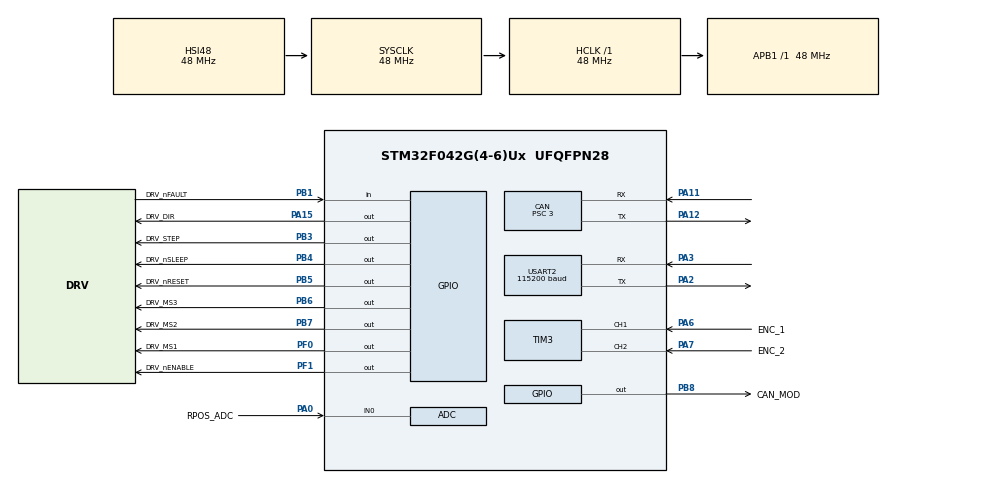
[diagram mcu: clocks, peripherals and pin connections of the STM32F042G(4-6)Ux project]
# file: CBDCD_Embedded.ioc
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ADC.ClockPrescaler=ADC_CLOCK_ASYNC_DIV1
ADC.ContinuousConvMode=ENABLE
ADC.DMAContinuousRequests=ENABLE
ADC.DataAlign=ADC_DATAALIGN_RIGHT
ADC.DiscontinuousConvMode=DISABLE
ADC.EOCSelection=ADC_EOC_SINGLE_CONV
ADC.EnableAnalogWatchDog=false
ADC.ExternalTrigConv=ADC_SOFTWARE_START
ADC.ExternalTrigConvEdge=ADC_EXTERNALTRIGCONVEDGE_NONE
ADC.LowPowerAutoPowerOff=DISABLE
ADC.LowPowerAutoWait=DISABLE
ADC.Overrun=ADC_OVR_DATA_PRESERVED
ADC.Resolution=ADC_RESOLUTION_12B
ADC.SamplingTime=ADC_SAMPLETIME_239CYCLES_5
ADC.ScanConvMode=ADC_SCAN_DIRECTION_FORWARD
CAN.BS1=CAN_BS1_11TQ
CAN.BS2=CAN_BS2_4TQ
CAN.CalculateTimeBit=1000
CAN.CalculateTimeQuantum=62.5
CAN.Mode=CAN_MODE_NORMAL
CAN.Prescaler=3
CAN.SJW=CAN_SJW_2TQ
Dma.ADC.0.Direction=DMA_PERIPH_TO_MEMORY
Dma.ADC.0.Instance=DMA1_Channel1
Dma.ADC.0.MemDataAlignment=DMA_MDATAALIGN_HALFWORD
Dma.ADC.0.MemInc=DMA_MINC_ENABLE
Dma.ADC.0.Mode=DMA_CIRCULAR
Dma.ADC.0.PeriphDataAlignment=DMA_PDATAALIGN_HALFWORD
Dma.ADC.0.PeriphInc=DMA_PINC_DISABLE
Dma.ADC.0.Priority=DMA_PRIORITY_LOW
Dma.Request0=ADC
Mcu.Family=STM32F0
Mcu.Name=STM32F042G(4-6)Ux
Mcu.Package=UFQFPN28
NVIC.CEC_CAN_IRQn=true\:0\:0\:false\:false\:true
NVIC.DMA1_Channel1_IRQn=true\:0\:0\:false\:false\:true
PA0.GPIO_Label=RPOS_ADC
PA0.Mode=IN0
PA0.Signal=ADC_IN0
PA11.Mode=Master
PA11.Signal=CAN_RX
PA12.Mode=Master
PA12.Signal=CAN_TX
PA13.Mode=Serial_Wire
PA13.Signal=SYS_SWDIO
PA14.Mode=Serial_Wire
PA14.Signal=SYS_SWCLK
PA15.GPIO_Label=DRV_DIR
PA15.Signal=GPIO_Output
PA2.Mode=Asynchronous
PA2.Signal=USART2_TX
PA3.Mode=Asynchronous
PA3.Signal=USART2_RX
PA6.GPIO_Label=ENC_1
PA6.Signal=S_TIM3_CH1
PA7.GPIO_Label=ENC_2
PA7.Signal=S_TIM3_CH2
PB1.GPIO_Label=DRV_nFAULT
PB1.Signal=GPIO_Input
PB3.GPIO_Label=DRV_STEP
PB3.Signal=GPIO_Output
PB4.GPIO_Label=DRV_nSLEEP
PB4.PinState=GPIO_PIN_SET
PB4.Signal=GPIO_Output
PB5.GPIO_Label=DRV_nRESET
PB5.PinState=GPIO_PIN_SET
PB5.Signal=GPIO_Output
PB6.GPIO_Label=DRV_MS3
PB6.Signal=GPIO_Output
PB7.GPIO_Label=DRV_MS2
PB7.Signal=GPIO_Output
PB8.GPIO_Label=CAN_MOD
PB8.Signal=GPIO_Output
PF0-OSC_IN.GPIO_Label=DRV_MS1
PF0-OSC_IN.Signal=GPIO_Output
PF1-OSC_OUT.GPIO_Label=DRV_nENABLE
PF1-OSC_OUT.Signal=GPIO_Output
ProjectManager.HeapSize=0x200
ProjectManager.StackSize=0x400
ProjectManager.TargetToolchain=TrueSTUDIO
RCC.AHBFreq_Value=48000000
RCC.APB1Freq_Value=48000000
RCC.APB1TimFreq_Value=48000000
RCC.HCLKFreq_Value=48000000
RCC.SYSCLKFreq_VALUE=48000000
RCC.SYSCLKSource=RCC_SYSCLKSOURCE_HSI48
SH.S_TIM3_CH1.0=TIM3_CH1,Encoder_Interface
SH.S_TIM3_CH2.0=TIM3_CH2,Encoder_Interface
TIM17.AutoReloadPreload=TIM_AUTORELOAD_PRELOAD_ENABLE
TIM17.Period=1000
TIM17.Prescaler=2
TIM2.AutoReloadPreload=TIM_AUTORELOAD_PRELOAD_DISABLE
TIM2.Period=450000
TIM2.Prescaler=10
TIM2.TIM_MasterOutputTrigger=TIM_TRGO_UPDATE
USART2.BaudRate=115200
USART2.VirtualMode-Asynchronous=VM_ASYNC
USART2.WordLength=WORDLENGTH_8B
VP_SYS_VS_PINREMAP.Mode=PINREMAP
VP_TIM17_VS_ClockSourceINT.Mode=Enable_Timer
VP_TIM2_VS_ClockSourceINT.Mode=Internal
board=CBDCD_Embedded

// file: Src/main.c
/**
  ******************************************************************************
  * File Name          : main.c
  * Description        : Main program body
  ******************************************************************************
  ** This notice applies to any and all portions of this file
  * that are not between comment pairs USER CODE BEGIN and
  * USER CODE END. Other portions of this file, whether
  * inserted by the user or by software development tools
  * are owned by their respective copyright owners.
  *
  * COPYRIGHT(c) 2017 STMicroelectronics
  *
  * Redistribution and use in source and binary forms, with or without modification,
  * are permitted provided that the following conditions are met:
  *   1. Redistributions of source code must retain the above copyright notice,
  *      this list of conditions and the following disclaimer.
  *   2. Redistributions in binary form must reproduce the above copyright notice,
  *      this list of conditions and the following disclaimer in the documentation
  *      and/or other materials provided with the distribution.
  *   3. Neither the name of STMicroelectronics nor the names of its contributors
  *      may be used to endorse or promote products derived from this software
  *      without specific prior written permission.
  *
  * THIS SOFTWARE IS PROVIDED BY THE COPYRIGHT HOLDERS AND CONTRIBUTORS "AS IS"
  * AND ANY EXPRESS OR IMPLIED WARRANTIES, INCLUDING, BUT NOT LIMITED TO, THE
  * IMPLIED WARRANTIES OF MERCHANTABILITY AND FITNESS FOR A PARTICULAR PURPOSE ARE
  * DISCLAIMED. IN NO EVENT SHALL THE COPYRIGHT HOLDER OR CONTRIBUTORS BE LIABLE
  * FOR ANY DIRECT, INDIRECT, INCIDENTAL, SPECIAL, EXEMPLARY, OR CONSEQUENTIAL
  * DAMAGES (INCLUDING, BUT NOT LIMITED TO, PROCUREMENT OF SUBSTITUTE GOODS OR
  * SERVICES; LOSS OF USE, DATA, OR PROFITS; OR BUSINESS INTERRUPTION) HOWEVER
  * CAUSED AND ON ANY THEORY OF LIABILITY, WHETHER IN CONTRACT, STRICT LIABILITY,
  * OR TORT (INCLUDING NEGLIGENCE OR OTHERWISE) ARISING IN ANY WAY OUT OF THE USE
  * OF THIS SOFTWARE, EVEN IF ADVISED OF THE POSSIBILITY OF SUCH DAMAGE.
  *
  ******************************************************************************
  */
#include "main.h"
#include "stm32f0xx_hal.h"

/* USER CODE BEGIN Includes */
#include "uCANnet/uCANnet.h"
#include "uCANnet/mcuCAN.h"
#include "motorController/motorController.h"
#include "MotorDefinitions.h"

#ifdef DRV8825
#include "drv8825/drv8825.h"
#endif

#ifdef DRV8801
#include "drv8801/drv8801.h"
#endif

/* USER CODE END Includes */

ADC_HandleTypeDef hadc;
DMA_HandleTypeDef hdma_adc;

CAN_HandleTypeDef hcan;

TIM_HandleTypeDef htim2;
TIM_HandleTypeDef htim3;
TIM_HandleTypeDef htim17;

UART_HandleTypeDef huart2;

/* USER CODE BEGIN PV */
/* Private variables ---------------------------------------------------------*/

/* USER CODE END PV */

void SystemClock_Config(void);
static void MX_GPIO_Init(void);
static void MX_DMA_Init(void);
static void MX_CAN_Init(void);
static void MX_TIM2_Init(void);
static void MX_TIM17_Init(void);
static void MX_ADC_Init(void);
static void MX_TIM3_Init(void);
static void MX_USART2_UART_Init(void);

/* USER CODE BEGIN PFP */
/* Private function prototypes -----------------------------------------------*/

/* USER CODE END PFP */

/* USER CODE BEGIN 0 */
extern volatile tcanRx canRxFlags;
extern uint32_t stepsCount;
/* USER CODE END 0 */

int main(void)
{

  /* USER CODE BEGIN 1 */
//  bootloaderSwitcher();
  /* USER CODE END 1 */

  /* MCU Configuration----------------------------------------------------------*/

  /* Reset of all peripherals, Initializes the Flash interface and the Systick. */
  HAL_Init();

  /* Configure the system clock */
  SystemClock_Config();

  /* Initialize all configured peripherals */
  MX_GPIO_Init();
  MX_DMA_Init();
  MX_CAN_Init();
  MX_TIM2_Init();
  MX_TIM17_Init();
  MX_ADC_Init();
  MX_TIM3_Init();
  MX_USART2_UART_Init();

  /* USER CODE BEGIN 2 */
  uCANnetCANInit();
  uCANnetSetFilters();
  motorController_Init();

  HAL_NVIC_SetPriority(CEC_CAN_IRQn, 1, 0);
  HAL_CAN_Receive_IT(&hcan, CAN_FIFO0);
#ifdef DRV8801
  HAL_TIMEx_PWMN_Start(&htim17,TIM_CHANNEL_1);
#endif

#ifdef DRV8825
  drv8825_Reset(1);
  drv8825_SetSleep(1);
  drv8825_EnableDevice(0);
  drv8825_SetMicrostepsCount(micro0);
#endif
  HAL_TIM_IC_Start_IT(&htim2,TIM_CHANNEL_1);
  /* USER CODE END 2 */

  /* Infinite loop */
  /* USER CODE BEGIN WHILE */
  HAL_ADC_Start_DMA(&hadc, &motorController.currentPosition, 1);

  HAL_TIM_Encoder_Start(&htim3, TIM_CHANNEL_ALL);

//  motorController.flags.PositionControler = 1;
//  motorController.setPosition = 1096;

  HAL_Delay(200);

  while (1)
  {

	  HAL_CAN_StateTypeDef  state = HAL_CAN_GetState(&hcan);
	  if ((state == HAL_CAN_STATE_TIMEOUT) || (state == HAL_CAN_STATE_ERROR))
	  {
		  HAL_CAN_DeInit(&hcan);
		  MX_CAN_Init();
		  canRxFlags.flags.fifo1 = 0;
		  HAL_CAN_Receive_IT(&hcan, CAN_FIFO0);
	  }

	  motorController.currentSpeed = TIM3->CNT;
	  motorController_Handle();
#ifdef DRV8825
//	 if (drv8825_PerformStep())
//		 HAL_Delay(2);
#endif

	if (__HAL_TIM_GET_FLAG(&htim2,TIM_IT_UPDATE) !=RESET)
	{
		uCANnetStatusFrameTx();
		__HAL_TIM_CLEAR_FLAG(&htim2,TIM_IT_UPDATE);
	}

	if (canRxFlags.flags.byte != 0) {
		canRxFlags.flags.fifo1 = 0;
		uCANnetFrameRx(hcan.pRxMsg);
		HAL_CAN_Receive_IT(&hcan, CAN_FIFO0);
	}
  /* USER CODE END WHILE */

  }

}

/** System Clock Configuration
*/
void SystemClock_Config(void)
{

  RCC_OscInitTypeDef RCC_OscInitStruct;
  RCC_ClkInitTypeDef RCC_ClkInitStruct;

    /**Initializes the CPU, AHB and APB busses clocks
    */
  RCC_OscInitStruct.OscillatorType = RCC_OSCILLATORTYPE_HSI14|RCC_OSCILLATORTYPE_HSI48;
  RCC_OscInitStruct.HSI48State = RCC_HSI48_ON;
  RCC_OscInitStruct.HSI14State = RCC_HSI14_ON;
  RCC_OscInitStruct.HSI14CalibrationValue = 16;
  RCC_OscInitStruct.PLL.PLLState = RCC_PLL_NONE;
  if (HAL_RCC_OscConfig(&RCC_OscInitStruct) != HAL_OK)
  {
    _Error_Handler(__FILE__, __LINE__);
  }

    /**Initializes the CPU, AHB and APB busses clocks
    */
  RCC_ClkInitStruct.ClockType = RCC_CLOCKTYPE_HCLK|RCC_CLOCKTYPE_SYSCLK
                              |RCC_CLOCKTYPE_PCLK1;
  RCC_ClkInitStruct.SYSCLKSource = RCC_SYSCLKSOURCE_HSI48;
  RCC_ClkInitStruct.AHBCLKDivider = RCC_SYSCLK_DIV1;
  RCC_ClkInitStruct.APB1CLKDivider = RCC_HCLK_DIV1;

  if (HAL_RCC_ClockConfig(&RCC_ClkInitStruct, FLASH_LATENCY_1) != HAL_OK)
  {
    _Error_Handler(__FILE__, __LINE__);
  }

    /**Configure the Systick interrupt time
    */
  HAL_SYSTICK_Config(HAL_RCC_GetHCLKFreq()/1000);

    /**Configure the Systick
    */
  HAL_SYSTICK_CLKSourceConfig(SYSTICK_CLKSOURCE_HCLK);

  /* SysTick_IRQn interrupt configuration */
  HAL_NVIC_SetPriority(SysTick_IRQn, 0, 0);
}

/* ADC init function */
static void MX_ADC_Init(void)
{

  ADC_ChannelConfTypeDef sConfig;

    /**Configure the global features of the ADC (Clock, Resolution, Data Alignment and number of conversion)
    */
  hadc.Instance = ADC1;
  hadc.Init.ClockPrescaler = ADC_CLOCK_ASYNC_DIV1;
  hadc.Init.Resolution = ADC_RESOLUTION_12B;
  hadc.Init.DataAlign = ADC_DATAALIGN_RIGHT;
  hadc.Init.ScanConvMode = ADC_SCAN_DIRECTION_FORWARD;
  hadc.Init.EOCSelection = ADC_EOC_SINGLE_CONV;
  hadc.Init.LowPowerAutoWait = DISABLE;
  hadc.Init.LowPowerAutoPowerOff = DISABLE;
  hadc.Init.ContinuousConvMode = ENABLE;
  hadc.Init.DiscontinuousConvMode = DISABLE;
  hadc.Init.ExternalTrigConv = ADC_SOFTWARE_START;
  hadc.Init.ExternalTrigConvEdge = ADC_EXTERNALTRIGCONVEDGE_NONE;
  hadc.Init.DMAContinuousRequests = ENABLE;
  hadc.Init.Overrun = ADC_OVR_DATA_PRESERVED;
  if (HAL_ADC_Init(&hadc) != HAL_OK)
  {
    _Error_Handler(__FILE__, __LINE__);
  }

    /**Configure for the selected ADC regular channel to be converted.
    */
  sConfig.Channel = ADC_CHANNEL_0;
  sConfig.Rank = ADC_RANK_CHANNEL_NUMBER;
  sConfig.SamplingTime = ADC_SAMPLETIME_239CYCLES_5;
  if (HAL_ADC_ConfigChannel(&hadc, &sConfig) != HAL_OK)
  {
    _Error_Handler(__FILE__, __LINE__);
  }

}

/* CAN init function */
static void MX_CAN_Init(void)
{

  hcan.Instance = CAN;
  hcan.Init.Prescaler = 3;
  hcan.Init.Mode = CAN_MODE_NORMAL;
  hcan.Init.SJW = CAN_SJW_2TQ;
  hcan.Init.BS1 = CAN_BS1_11TQ;
  hcan.Init.BS2 = CAN_BS2_4TQ;
  hcan.Init.TTCM = DISABLE;
  hcan.Init.ABOM = DISABLE;
  hcan.Init.AWUM = DISABLE;
  hcan.Init.NART = DISABLE;
  hcan.Init.RFLM = DISABLE;
  hcan.Init.TXFP = DISABLE;
  while (HAL_CAN_Init(&hcan) != HAL_OK) {;}

}

/* TIM2 init function */
static void MX_TIM2_Init(void)
{

  TIM_ClockConfigTypeDef sClockSourceConfig;
  TIM_MasterConfigTypeDef sMasterConfig;

  htim2.Instance = TIM2;
  htim2.Init.Prescaler = 10;
  htim2.Init.CounterMode = TIM_COUNTERMODE_UP;
  htim2.Init.Period = 450000;
  htim2.Init.ClockDivision = TIM_CLOCKDIVISION_DIV1;
  htim2.Init.AutoReloadPreload = TIM_AUTORELOAD_PRELOAD_DISABLE;
  if (HAL_TIM_Base_Init(&htim2) != HAL_OK)
  {
    _Error_Handler(__FILE__, __LINE__);
  }

  sClockSourceConfig.ClockSource = TIM_CLOCKSOURCE_INTERNAL;
  if (HAL_TIM_ConfigClockSource(&htim2, &sClockSourceConfig) != HAL_OK)
  {
    _Error_Handler(__FILE__, __LINE__);
  }

  sMasterConfig.MasterOutputTrigger = TIM_TRGO_UPDATE;
  sMasterConfig.MasterSlaveMode = TIM_MASTERSLAVEMODE_DISABLE;
  if (HAL_TIMEx_MasterConfigSynchronization(&htim2, &sMasterConfig) != HAL_OK)
  {
    _Error_Handler(__FILE__, __LINE__);
  }

}

/* TIM3 init function */
static void MX_TIM3_Init(void)
{

  TIM_Encoder_InitTypeDef sConfig;
  TIM_MasterConfigTypeDef sMasterConfig;

  htim3.Instance = TIM3;
  htim3.Init.Prescaler = 0;
  htim3.Init.CounterMode = TIM_COUNTERMODE_UP;
  htim3.Init.Period = 0;
  htim3.Init.ClockDivision = TIM_CLOCKDIVISION_DIV1;
  htim3.Init.AutoReloadPreload = TIM_AUTORELOAD_PRELOAD_DISABLE;
  sConfig.EncoderMode = TIM_ENCODERMODE_TI1;
  sConfig.IC1Polarity = TIM_ICPOLARITY_RISING;
  sConfig.IC1Selection = TIM_ICSELECTION_DIRECTTI;
  sConfig.IC1Prescaler = TIM_ICPSC_DIV1;
  sConfig.IC1Filter = 0;
  sConfig.IC2Polarity = TIM_ICPOLARITY_RISING;
  sConfig.IC2Selection = TIM_ICSELECTION_DIRECTTI;
  sConfig.IC2Prescaler = TIM_ICPSC_DIV1;
  sConfig.IC2Filter = 0;
  if (HAL_TIM_Encoder_Init(&htim3, &sConfig) != HAL_OK)
  {
    _Error_Handler(__FILE__, __LINE__);
  }

  sMasterConfig.MasterOutputTrigger = TIM_TRGO_RESET;
  sMasterConfig.MasterSlaveMode = TIM_MASTERSLAVEMODE_DISABLE;
  if (HAL_TIMEx_MasterConfigSynchronization(&htim3, &sMasterConfig) != HAL_OK)
  {
    _Error_Handler(__FILE__, __LINE__);
  }

}

/* TIM17 init function */
static void MX_TIM17_Init(void)
{

  htim17.Instance = TIM17;
  htim17.Init.Prescaler = 2;
  htim17.Init.CounterMode = TIM_COUNTERMODE_UP;
  htim17.Init.Period = 1000;
  htim17.Init.ClockDivision = TIM_CLOCKDIVISION_DIV1;
  htim17.Init.RepetitionCounter = 0;
  htim17.Init.AutoReloadPreload = TIM_AUTORELOAD_PRELOAD_ENABLE;
  if (HAL_TIM_Base_Init(&htim17) != HAL_OK)
  {
    _Error_Handler(__FILE__, __LINE__);
  }

}

/* USART2 init function */
static void MX_USART2_UART_Init(void)
{

  huart2.Instance = USART2;
  huart2.Init.BaudRate = 115200;
  huart2.Init.WordLength = UART_WORDLENGTH_8B;
  huart2.Init.StopBits = UART_STOPBITS_1;
  huart2.Init.Parity = UART_PARITY_NONE;
  huart2.Init.Mode = UART_MODE_TX_RX;
  huart2.Init.HwFlowCtl = UART_HWCONTROL_NONE;
  huart2.Init.OverSampling = UART_OVERSAMPLING_16;
  huart2.Init.OneBitSampling = UART_ONE_BIT_SAMPLE_DISABLE;
  huart2.AdvancedInit.AdvFeatureInit = UART_ADVFEATURE_NO_INIT;
  if (HAL_UART_Init(&huart2) != HAL_OK)
  {
    _Error_Handler(__FILE__, __LINE__);
  }

}

static void MX_DMA_Init(void)
{
  /* DMA controller clock enable */
  __HAL_RCC_DMA1_CLK_ENABLE();

  /* DMA interrupt init */
  /* DMA1_Channel1_IRQn interrupt configuration */
  HAL_NVIC_SetPriority(DMA1_Channel1_IRQn, 0, 0);
  HAL_NVIC_EnableIRQ(DMA1_Channel1_IRQn);

}

/** Configure pins as
        * Analog
        * Input
        * Output
        * EVENT_OUT
        * EXTI
*/
static void MX_GPIO_Init(void)
{

  GPIO_InitTypeDef GPIO_InitStruct;

  /* GPIO Ports Clock Enable */
  __HAL_RCC_GPIOB_CLK_ENABLE();
  __HAL_RCC_GPIOF_CLK_ENABLE();
  __HAL_RCC_GPIOA_CLK_ENABLE();

  /*Configure GPIO pin Output Level */
  HAL_GPIO_WritePin(GPIOB, CAN_MOD_Pin|DRV_STEP_Pin|DRV_MS3_Pin|DRV_MS2_Pin, GPIO_PIN_RESET);

  /*Configure GPIO pin Output Level */
  HAL_GPIO_WritePin(GPIOF, DRV_MS1_Pin|DRV_nENABLE_Pin, GPIO_PIN_RESET);

  /*Configure GPIO pin Output Level */
  HAL_GPIO_WritePin(DRV_DIR_GPIO_Port, DRV_DIR_Pin, GPIO_PIN_RESET);

  /*Configure GPIO pin Output Level */
  HAL_GPIO_WritePin(GPIOB, DRV_nSLEEP_Pin|DRV_nRESET_Pin, GPIO_PIN_SET);

  /*Configure GPIO pins : CAN_MOD_Pin DRV_STEP_Pin DRV_nSLEEP_Pin DRV_nRESET_Pin
                           DRV_MS3_Pin DRV_MS2_Pin */
  GPIO_InitStruct.Pin = CAN_MOD_Pin|DRV_STEP_Pin|DRV_nSLEEP_Pin|DRV_nRESET_Pin
                          |DRV_MS3_Pin|DRV_MS2_Pin;
  GPIO_InitStruct.Mode = GPIO_MODE_OUTPUT_PP;
  GPIO_InitStruct.Pull = GPIO_NOPULL;
  GPIO_InitStruct.Speed = GPIO_SPEED_FREQ_LOW;
  HAL_GPIO_Init(GPIOB, &GPIO_InitStruct);

  /*Configure GPIO pins : DRV_MS1_Pin DRV_nENABLE_Pin */
  GPIO_InitStruct.Pin = DRV_MS1_Pin|DRV_nENABLE_Pin;
  GPIO_InitStruct.Mode = GPIO_MODE_OUTPUT_PP;
  GPIO_InitStruct.Pull = GPIO_NOPULL;
  GPIO_InitStruct.Speed = GPIO_SPEED_FREQ_LOW;
  HAL_GPIO_Init(GPIOF, &GPIO_InitStruct);

  /*Configure GPIO pin : DRV_nFAULT_Pin */
  GPIO_InitStruct.Pin = DRV_nFAULT_Pin;
  GPIO_InitStruct.Mode = GPIO_MODE_INPUT;
  GPIO_InitStruct.Pull = GPIO_NOPULL;
  HAL_GPIO_Init(DRV_nFAULT_GPIO_Port, &GPIO_InitStruct);

  /*Configure GPIO pin : DRV_DIR_Pin */
  GPIO_InitStruct.Pin = DRV_DIR_Pin;
  GPIO_InitStruct.Mode = GPIO_MODE_OUTPUT_PP;
  GPIO_InitStruct.Pull = GPIO_NOPULL;
  GPIO_InitStruct.Speed = GPIO_SPEED_FREQ_LOW;
  HAL_GPIO_Init(DRV_DIR_GPIO_Port, &GPIO_InitStruct);

}

/* USER CODE BEGIN 4 */
void HAL_CAN_RxCpltCallback(CAN_HandleTypeDef* hcan) {
	canRxFlags.flags.fifo1 = 1;
}

/* USER CODE END 4 */

void _Error_Handler(char * file, int line)
{
  while(1)
  {
  }
}

/************************ (C) COPYRIGHT STMicroelectronics *****END OF FILE****/
